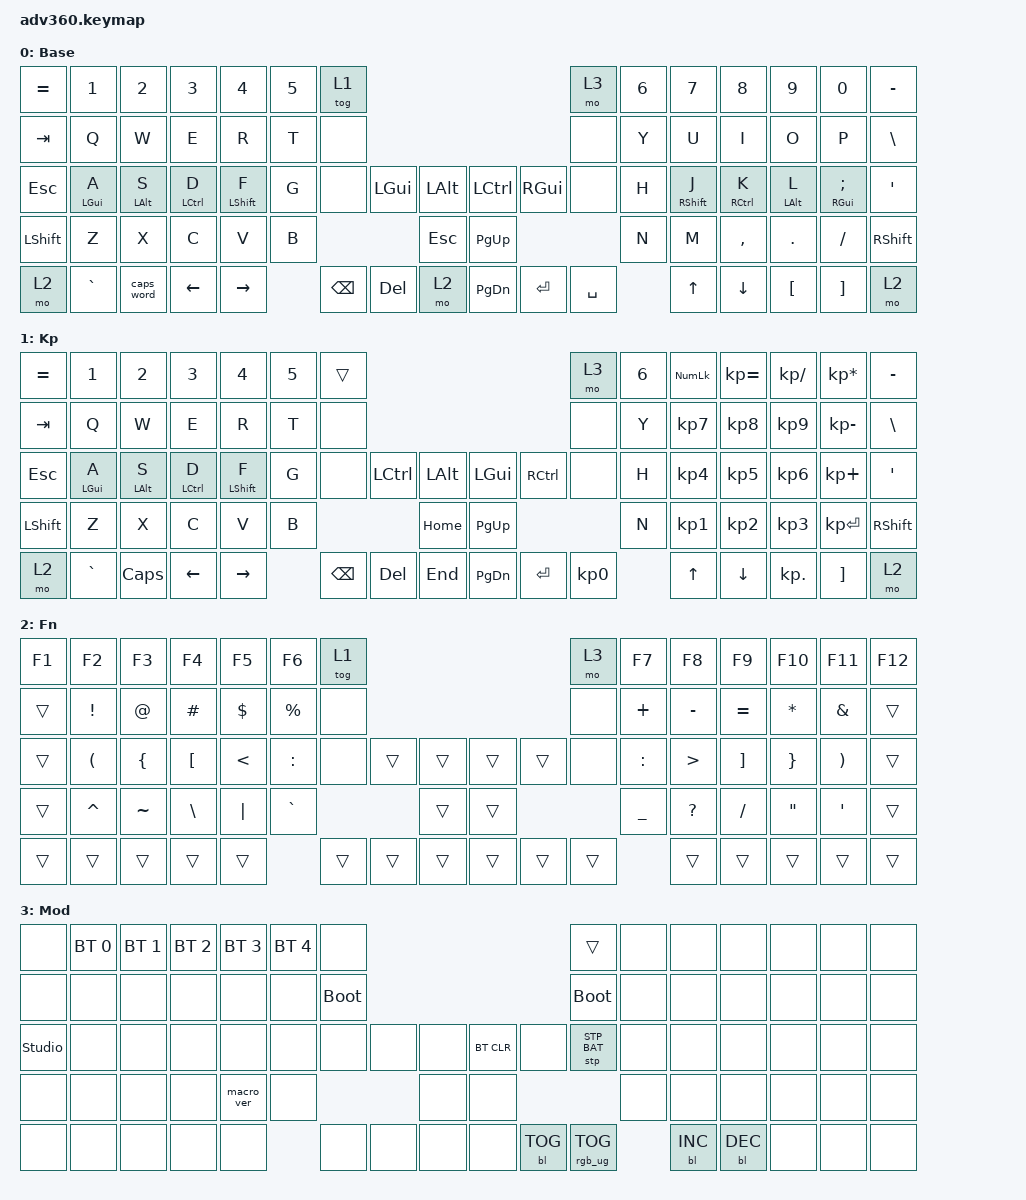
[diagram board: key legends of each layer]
#include <dt-bindings/zmk/stp.h>
#include <behaviors.dtsi>
#include <dt-bindings/zmk/backlight.h>
#include <dt-bindings/zmk/bt.h>
#include <dt-bindings/zmk/keys.h>
#include <dt-bindings/zmk/rgb.h>

/ {
    behaviors {
        #include "macros.dtsi"
      #include "version.dtsi"

        hm: homerow_mods {
            compatible = "zmk,behavior-hold-tap";
            label = "HOMEROW_MODS";
            #binding-cells = <2>;
            tapping-term-ms = <200>;
            quick_tap_ms = <200>;
            require-prior-idle-ms = <125>;
            flavor = "balanced";
            bindings = <&kp>, <&kp>;
        };
    };

    keymap {
        compatible = "zmk,keymap";

        default_layer {
            display-name = "Base";
            bindings = <
&kp EQUAL  &kp N1      &kp N2      &kp N3       &kp N4       &kp N5  &tog 1                                                            &mo 3      &kp N6  &kp N7       &kp N8       &kp N9      &kp N0         &kp MINUS
&kp TAB    &kp Q       &kp W       &kp E        &kp R        &kp T   &none                                                             &none      &kp Y   &kp U        &kp I        &kp O       &kp P          &kp BSLH
&kp ESC    &hm LGUI A  &hm LALT S  &hm LCTRL D  &hm LSHFT F  &kp G   &none     &kp LEFT_GUI  &kp LALT        &kp LCTRL  &kp RIGHT_GUI  &none      &kp H   &hm RSHFT J  &hm RCTRL K  &hm LALT L  &hm RGUI SEMI  &kp SQT
&kp LSHFT  &kp Z       &kp X       &kp C        &kp V        &kp B                           &kp ESCAPE      &kp PG_UP                            &kp N   &kp M        &kp COMMA    &kp DOT     &kp FSLH       &kp RSHFT
&mo 2      &kp GRAVE   &caps_word  &kp LEFT     &kp RIGHT            &kp BSPC  &kp DEL       &mo 2           &kp PG_DN  &kp ENTER      &kp SPACE          &kp UP       &kp DOWN     &kp LBKT    &kp RBKT       &mo 2
            >;
        };

        keypad {
            display-name = "Kp";
            bindings = <
&kp EQUAL  &kp N1      &kp N2      &kp N3       &kp N4       &kp N5  &trans                                                   &mo 3      &kp N6  &kp KP_NUM  &kp KP_EQUAL  &kp KP_DIVIDE  &kp KP_MULTIPLY  &kp MINUS
&kp TAB    &kp Q       &kp W       &kp E        &kp R        &kp T   &none                                                    &none      &kp Y   &kp KP_N7   &kp KP_N8     &kp KP_N9      &kp KP_MINUS     &kp BSLH
&kp ESC    &hm LGUI A  &hm LALT S  &hm LCTRL D  &hm LSHFT F  &kp G   &none     &kp LCTRL  &kp LALT      &kp LGUI   &kp RCTRL  &none      &kp H   &kp KP_N4   &kp KP_N5     &kp KP_N6      &kp KP_PLUS      &kp SQT
&kp LSHFT  &kp Z       &kp X       &kp C        &kp V        &kp B                        &kp HOME      &kp PG_UP                        &kp N   &kp KP_N1   &kp KP_N2     &kp KP_N3      &kp KP_ENTER     &kp RSHFT
&mo 2      &kp GRAVE   &kp CAPS    &kp LEFT     &kp RIGHT            &kp BSPC  &kp DEL    &kp END       &kp PG_DN  &kp ENTER  &kp KP_N0          &kp UP      &kp DOWN      &kp KP_DOT     &kp RBKT         &mo 2
            >;
        };

        fn {
            display-name = "Fn";
            bindings = <
&kp F1  &kp F2                &kp F3          &kp F4            &kp F5         &kp F6       &tog 1                                      &mo 3   &kp F7     &kp F8        &kp F9             &kp F10            &kp F11                &kp F12
&trans  &kp EXCL              &kp AT          &kp HASH          &kp DOLLAR     &kp PERCENT  &none                                       &none   &kp PLUS   &kp MINUS     &kp EQUAL          &kp STAR           &kp AMPERSAND          &trans
&trans  &kp LEFT_PARENTHESIS  &kp LEFT_BRACE  &kp LEFT_BRACKET  &kp LESS_THAN  &kp COLON    &none   &trans  &trans      &trans  &trans  &none   &kp COLON  &kp GT        &kp RIGHT_BRACKET  &kp RIGHT_BRACE    &kp RIGHT_PARENTHESIS  &trans
&trans  &kp CARET             &kp TILDE       &kp BACKSLASH     &kp PIPE       &kp GRAVE                    &trans      &trans                  &kp UNDER  &kp QUESTION  &kp SLASH          &kp DOUBLE_QUOTES  &kp SINGLE_QUOTE       &trans
&trans  &trans                &trans          &trans            &trans                      &trans  &trans  &trans      &trans  &trans  &trans             &trans        &trans             &trans             &trans                 &trans
            >;
        };

        mod {
            display-name = "Mod";
            bindings = <
&none           &bt BT_SEL 0  &bt BT_SEL 1  &bt BT_SEL 2  &bt BT_SEL 3  &bt BT_SEL 4  &none                                                  &trans           &none  &none       &none       &none  &none  &none
&none           &none         &none         &none         &none         &none         &bootloader                                            &bootloader      &none  &none       &none       &none  &none  &none
&studio_unlock  &none         &none         &none         &none         &none         &none        &none  &none      &bt BT_CLR  &none       &stp STP_BAT     &none  &none       &none       &none  &none  &none
&none           &none         &none         &none         &macro_ver    &none                             &none      &none                                    &none  &none       &none       &none  &none  &none
&none           &none         &none         &none         &none                       &none        &none  &none      &none       &bl BL_TOG  &rgb_ug RGB_TOG         &bl BL_INC  &bl BL_DEC  &none  &none  &none
            >;
        };

        extra1 {
            display-name = "Red";
            status = "reserved";
        };

        extra2 {
            display-name = "Purple";
            status = "reserved";
        };

        extra3 {
            display-name = "Cyan";
            status = "reserved";
        };

        extra4 {
            display-name = "Yellow";
            status = "reserved";
        };
    };
};
